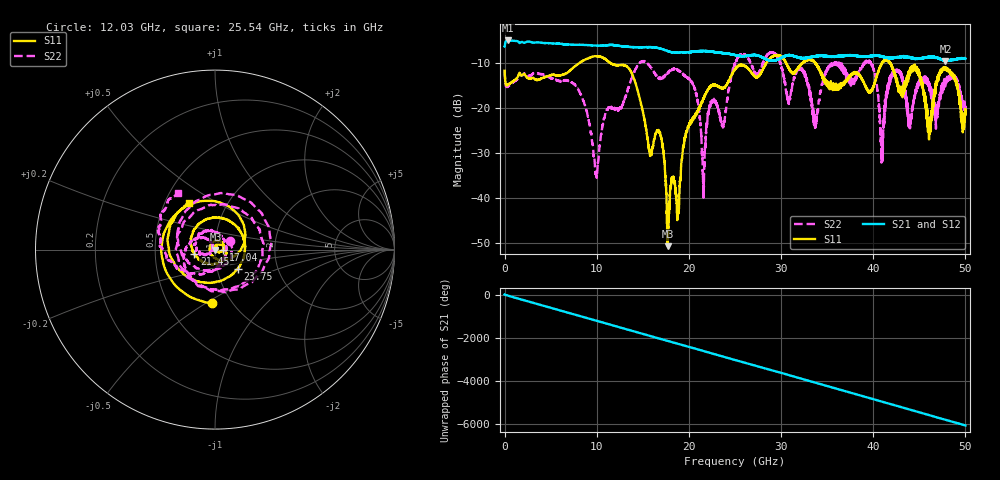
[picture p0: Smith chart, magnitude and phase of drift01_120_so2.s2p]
!Created with skrf (http://scikit-rf.org).
# Hz S RI R 50.0
!freq ReS11 ImS11 ReS21 ImS21 ReS12 ImS12 ReS22 ImS22
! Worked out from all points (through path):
!   10001 points, 300 kHz to 50 GHz, reference 50 ohm
!   highest |S21| = -5.05 dB at 325.3 MHz (marker M1); lowest = -9.6 dB at 47.84 GHz (marker M2)
!   group delay of S21, straight-line fit = 336 ps
!   lowest |S11| = -50.8 dB at 17.7 GHz (marker M3), VSWR 1.01, Z = 50.3 - j0.0862 ohm
!   |S11| at or under -10 dB: start of sweep to 8.165 GHz; 11.43 GHz to 28.42 GHz (16.99 GHz wide, 85.3 % of centre); 41.81 GHz to end of sweep (the widest 3 of 11)
!   |S22| runs from -40.0 to -7.6 dB; largest |S21 - S12| = 0.015
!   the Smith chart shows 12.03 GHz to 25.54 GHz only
!   S11 on the Smith chart (normalised r, x): 12.03 GHz: 0.81, -0.53; 17.04 GHz: 1.09, -0.01; 21.45 GHz: 0.79, -0.04; 23.75 GHz: 1.26, -0.28; 25.54 GHz: 0.66, +0.38
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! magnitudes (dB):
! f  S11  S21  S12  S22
! 300 kHz  -11.8  -6.4  -6.5  -11.8
! 325.3 MHz  -14.9  -5.0  -5.1  -15.4
! 8.335 GHz  -9.8  -6.0  -6.0  -17.5
! 9.94 GHz  -8.5  -6.2  -6.2  -34.6
! 12.03 GHz  -10.5  -6.1  -6.1  -20.4
! 16.67 GHz  -24.9  -6.7  -6.7  -13.3
! 17.04 GHz  -27.1  -6.9  -6.9  -13.5
! 17.7 GHz  -50.8  -7.4  -7.4  -12.3
! 20.49 GHz  -22.5  -7.6  -7.5  -15.0
! 21.45 GHz  -18.6  -7.4  -7.4  -30.9
! 22.47 GHz  -15.1  -7.5  -7.5  -18.9
! 23.75 GHz  -15.6  -7.9  -7.8  -24.0
! 25 GHz  -11.4  -8.3  -8.3  -10.3
! 25.54 GHz  -10.5  -8.5  -8.5  -8.4
! 33.34 GHz  -9.4  -8.7  -8.7  -19.1
! 39.49 GHz  -16.4  -8.5  -8.5  -9.8
! 40.95 GHz  -10.2  -8.6  -8.6  -30.2
! 41.67 GHz  -9.5  -8.9  -9.0  -14.9
! 44.79 GHz  -11.5  -9.1  -9.0  -15.4
! 46.12 GHz  -23.1  -8.7  -8.6  -14.5
! 47.84 GHz  -11.2  -9.6  -9.5  -14.3
! 50 GHz  -21.3  -9.1  -9.1  -20.1
